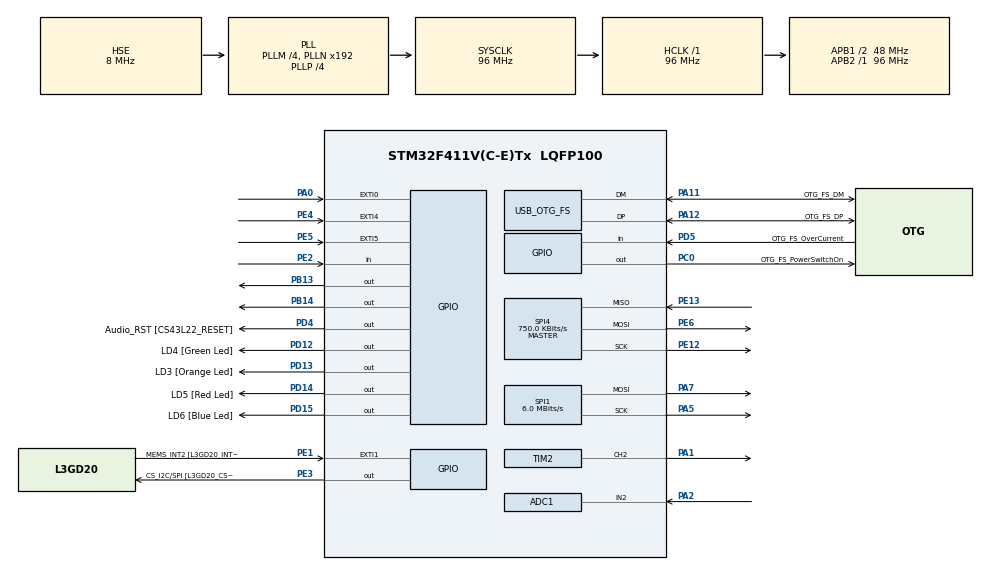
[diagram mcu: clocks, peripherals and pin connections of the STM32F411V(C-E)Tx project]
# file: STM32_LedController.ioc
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ADC1.Channel-1\#ChannelRegularConversion=ADC_CHANNEL_2
ADC1.DMAContinuousRequests=ENABLE
ADC1.EOCSelection=ADC_EOC_SEQ_CONV
ADC1.ExternalTrigConv=ADC_EXTERNALTRIGCONV_T2_CC2
ADC1.ExternalTrigConvEdge=ADC_EXTERNALTRIGCONVEDGE_RISINGFALLING
ADC1.NbrOfConversionFlag=1
ADC1.Rank-1\#ChannelRegularConversion=1
ADC1.SamplingTime-1\#ChannelRegularConversion=ADC_SAMPLETIME_3CYCLES
ADC1.master=1
Dma.ADC1.1.Direction=DMA_PERIPH_TO_MEMORY
Dma.ADC1.1.FIFOMode=DMA_FIFOMODE_DISABLE
Dma.ADC1.1.Instance=DMA2_Stream0
Dma.ADC1.1.MemDataAlignment=DMA_MDATAALIGN_HALFWORD
Dma.ADC1.1.MemInc=DMA_MINC_ENABLE
Dma.ADC1.1.Mode=DMA_CIRCULAR
Dma.ADC1.1.PeriphDataAlignment=DMA_PDATAALIGN_HALFWORD
Dma.ADC1.1.PeriphInc=DMA_PINC_DISABLE
Dma.ADC1.1.Priority=DMA_PRIORITY_MEDIUM
Dma.Request0=SPI1_TX
Dma.Request1=ADC1
Dma.SPI1_TX.0.Direction=DMA_MEMORY_TO_PERIPH
Dma.SPI1_TX.0.FIFOMode=DMA_FIFOMODE_DISABLE
Dma.SPI1_TX.0.Instance=DMA2_Stream2
Dma.SPI1_TX.0.MemDataAlignment=DMA_MDATAALIGN_BYTE
Dma.SPI1_TX.0.MemInc=DMA_MINC_ENABLE
Dma.SPI1_TX.0.Mode=DMA_CIRCULAR
Dma.SPI1_TX.0.PeriphDataAlignment=DMA_PDATAALIGN_BYTE
Dma.SPI1_TX.0.PeriphInc=DMA_PINC_DISABLE
Dma.SPI1_TX.0.Priority=DMA_PRIORITY_VERY_HIGH
Mcu.Family=STM32F4
Mcu.Name=STM32F411V(C-E)Tx
Mcu.Package=LQFP100
NVIC.DMA2_Stream0_IRQn=true\:0\:0\:false\:false\:true\:false\:true\:true
NVIC.DMA2_Stream2_IRQn=true\:0\:0\:false\:false\:true\:false\:true\:true
NVIC.OTG_FS_IRQn=true\:0\:0\:false\:false\:true\:false\:true\:true
NVIC.PriorityGroup=NVIC_PRIORITYGROUP_0
PA0-WKUP.GPIO_ModeDefaultEXTI=GPIO_MODE_EVT_RISING
PA0-WKUP.Signal=GPXTI0
PA1.Signal=S_TIM2_CH2
PA10.GPIO_Label=OTG_FS_ID
PA10.Signal=USB_OTG_FS_ID
PA11.GPIO_Label=OTG_FS_DM
PA11.Mode=Device_Only
PA11.Signal=USB_OTG_FS_DM
PA12.GPIO_Label=OTG_FS_DP
PA12.Mode=Device_Only
PA12.Signal=USB_OTG_FS_DP
PA13.GPIO_Label=SWDIO
PA13.Signal=SYS_JTMS-SWDIO
PA14.GPIO_Label=SWCLK
PA14.Signal=SYS_JTCK-SWCLK
PA2.Signal=ADCx_IN2
PA5.Mode=TX_Only_Simplex_Unidirect_Master
PA5.Signal=SPI1_SCK
PA7.Mode=TX_Only_Simplex_Unidirect_Master
PA7.Signal=SPI1_MOSI
PA9.GPIO_Label=VBUS_FS
PA9.Signal=USB_OTG_FS_VBUS
PB12.Signal=I2S2_WS
PB13.Signal=GPIO_Output
PB14.Signal=GPIO_Output
PB3.GPIO_Label=SWO
PB3.Signal=SYS_JTDO-SWO
PB6.GPIO_Label=Audio_SCL [CS43L22_SCL]
PB6.GPIO_Mode=GPIO_MODE_AF_OD
PB6.GPIO_PuPd=GPIO_NOPULL
PB6.GPIO_Speed=GPIO_SPEED_FREQ_LOW
PB6.Signal=I2C1_SCL
PB9.GPIO_Label=Audio_SDA [CS43L22_SDA]
PB9.GPIO_Mode=GPIO_MODE_AF_OD
PB9.GPIO_PuPd=GPIO_NOPULL
PB9.GPIO_Speed=GPIO_SPEED_FREQ_LOW
PB9.Signal=I2C1_SDA
PC0.GPIO_Label=OTG_FS_PowerSwitchOn
PC0.PinState=GPIO_PIN_SET
PC0.Signal=GPIO_Output
PC10.GPIO_Label=I2S3_SCK [CS43L22_SCLK]
PC10.GPIO_Mode=GPIO_MODE_AF_PP
PC10.GPIO_PuPd=GPIO_NOPULL
PC10.GPIO_Speed=GPIO_SPEED_FREQ_LOW
PC10.Signal=I2S3_CK
PC12.GPIO_Label=I2S3_SD [CS43L22_SDIN]
PC12.GPIO_Mode=GPIO_MODE_AF_PP
PC12.GPIO_PuPd=GPIO_NOPULL
PC12.GPIO_Speed=GPIO_SPEED_FREQ_LOW
PC12.Signal=I2S3_SD
PC14-OSC32_IN.GPIO_Label=PC14-OSC32_IN
PC14-OSC32_IN.Signal=RCC_OSC32_IN
PC15-OSC32_OUT.GPIO_Label=PC15-OSC32_OUT
PC15-OSC32_OUT.Signal=RCC_OSC32_OUT
PC3.GPIO_Label=PDM_OUT [MP45DT02_DOUT]
PC3.Signal=I2S2_SD
PC7.GPIO_Label=I2S3_MCK [CS43L22_MCLK]
PC7.GPIO_Mode=GPIO_MODE_AF_PP
PC7.GPIO_PuPd=GPIO_NOPULL
PC7.GPIO_Speed=GPIO_SPEED_FREQ_LOW
PC7.Signal=I2S3_MCK
PD12.GPIO_Label=LD4 [Green Led]
PD12.GPIO_PuPd=GPIO_NOPULL
PD12.GPIO_Speed=GPIO_SPEED_FREQ_LOW
PD12.Signal=GPIO_Output
PD13.GPIO_Label=LD3 [Orange Led]
PD13.GPIO_PuPd=GPIO_NOPULL
PD13.GPIO_Speed=GPIO_SPEED_FREQ_LOW
PD13.Signal=GPIO_Output
PD14.GPIO_Label=LD5 [Red Led]
PD14.GPIO_PuPd=GPIO_NOPULL
PD14.GPIO_Speed=GPIO_SPEED_FREQ_LOW
PD14.Signal=GPIO_Output
PD15.GPIO_Label=LD6 [Blue Led]
PD15.GPIO_PuPd=GPIO_NOPULL
PD15.GPIO_Speed=GPIO_SPEED_FREQ_LOW
PD15.Signal=GPIO_Output
PD4.GPIO_Label=Audio_RST [CS43L22_RESET]
PD4.Signal=GPIO_Output
PD5.GPIO_Label=OTG_FS_OverCurrent
PD5.Signal=GPIO_Input
PE1.GPIO_Label=MEMS_INT2 [L3GD20_INT2]
PE1.GPIO_ModeDefaultEXTI=GPIO_MODE_EVT_RISING
PE1.Signal=GPXTI1
PE12.Mode=Full_Duplex_Master
PE12.Signal=SPI4_SCK
PE13.Mode=Full_Duplex_Master
PE13.Signal=SPI4_MISO
PE2.Signal=GPIO_Input
PE3.GPIO_Label=CS_I2C/SPI [L3GD20_CS_I2C/SPI]
PE3.Signal=GPIO_Output
PE4.GPIO_ModeDefaultEXTI=GPIO_MODE_EVT_RISING
PE4.Signal=GPXTI4
PE5.GPIO_ModeDefaultEXTI=GPIO_MODE_EVT_RISING
PE5.Signal=GPXTI5
PE6.Mode=Full_Duplex_Master
PE6.Signal=SPI4_MOSI
PH0\ -\ OSC_IN.GPIO_Label=PH0-OSC_IN
PH0\ -\ OSC_IN.Mode=HSE-External-Oscillator
PH0\ -\ OSC_IN.Signal=RCC_OSC_IN
PH1\ -\ OSC_OUT.GPIO_Label=PH1-OSC_OUT
PH1\ -\ OSC_OUT.Mode=HSE-External-Oscillator
PH1\ -\ OSC_OUT.Signal=RCC_OSC_OUT
ProjectManager.HeapSize=0x200
ProjectManager.StackSize=0x400
ProjectManager.TargetToolchain=STM32CubeIDE
RCC.48MHZClocksFreq_Value=48000000
RCC.AHBFreq_Value=96000000
RCC.APB1CLKDivider=RCC_HCLK_DIV2
RCC.APB1Freq_Value=48000000
RCC.APB1TimFreq_Value=96000000
RCC.APB2Freq_Value=96000000
RCC.APB2TimFreq_Value=96000000
RCC.CortexFreq_Value=96000000
RCC.HCLKFreq_Value=96000000
RCC.HSE_VALUE=8000000
RCC.HSI_VALUE=16000000
RCC.LSE_VALUE=32768
RCC.PLLI2SM=5
RCC.PLLI2SN=200
RCC.PLLM=4
RCC.PLLP=RCC_PLLP_DIV4
RCC.PLLQ=8
RCC.SYSCLKFreq_VALUE=96000000
RCC.SYSCLKSource=RCC_SYSCLKSOURCE_PLLCLK
RCC.VCOOutputFreq_Value=384000000
SH.ADCx_IN2.0=ADC1_IN2,IN2
SH.S_TIM2_CH2.0=TIM2_CH2,Output Compare2 CH2
SPI1.BaudRatePrescaler=SPI_BAUDRATEPRESCALER_16
SPI1.CalculateBaudRate=6.0 MBits/s
SPI1.Direction=SPI_DIRECTION_2LINES
SPI1.Mode=SPI_MODE_MASTER
SPI1.VirtualType=VM_MASTER
SPI4.BaudRatePrescaler=SPI_BAUDRATEPRESCALER_128
SPI4.CalculateBaudRate=750.0 KBits/s
SPI4.Direction=SPI_DIRECTION_2LINES
SPI4.Mode=SPI_MODE_MASTER
SPI4.VirtualType=VM_MASTER
TIM2.AutoReloadPreload=TIM_AUTORELOAD_PRELOAD_DISABLE
TIM2.Channel-Output\ Compare2\ CH2=TIM_CHANNEL_2
TIM2.OCMode_2=TIM_OCMODE_TOGGLE
TIM2.Period=2000-1
TIM2.Pulse-Output\ Compare2\ CH2=1000
USB_DEVICE.CLASS_NAME_FS=CDC
USB_DEVICE.VirtualMode=Cdc
USB_DEVICE.VirtualModeFS=Cdc_FS
USB_OTG_FS.VirtualMode=Device_Only
VP_TIM2_VS_ClockSourceINT.Mode=Internal
VP_USB_DEVICE_VS_USB_DEVICE_CDC_FS.Mode=CDC_FS
board=STM32F411E-DISCO

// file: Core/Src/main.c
/* USER CODE BEGIN Header */
/**
  ******************************************************************************
  * @file           : main.c
  * @brief          : Main program body
  ******************************************************************************
  * @attention
  *
  * <h2><center>&copy; Copyright (c) 2021 STMicroelectronics.
  * All rights reserved.</center></h2>
  *
  * This software component is licensed by ST under Ultimate Liberty license
  * SLA0044, the "License"; You may not use this file except in compliance with
  * the License. You may obtain a copy of the License at:
  *                             www.st.com/SLA0044
  *
  ******************************************************************************
  */
/* USER CODE END Header */
#include "main.h"
#include "usb_device.h"

/* USER CODE BEGIN Includes */
#include "../../aplDsp/dataAquisition.h"

//#include "../../nRF24/nRF24_Defs.h"
//#include "../../nRF24/nRF24.h"

/* USER CODE END Includes */

ADC_HandleTypeDef hadc1;
DMA_HandleTypeDef hdma_adc1;

SPI_HandleTypeDef hspi1;
SPI_HandleTypeDef hspi4;
DMA_HandleTypeDef hdma_spi1_tx;

TIM_HandleTypeDef htim2;

void SystemClock_Config(void);
static void MX_GPIO_Init(void);
static void MX_DMA_Init(void);
static void MX_SPI1_Init(void);
static void MX_TIM2_Init(void);
static void MX_ADC1_Init(void);
static void MX_SPI4_Init(void);
/* USER CODE BEGIN PFP */
extern void fvSysScheduler(void);
extern dataAquisition DataAquisition;
/* USER CODE END PFP */

/* USER CODE BEGIN 0 */

extern "C" void nRF24_Init(SPI_HandleTypeDef *hspi);
extern "C" void nRF24_SetRXAddress(uint8_t pipe, uint8_t* address); // Remember to define RX address before TX
extern "C" void nRF24_SetTXAddress(uint8_t* address);
extern "C" void nRF24_RX_Mode(void);

extern "C" uint8_t nRF24_RXAvailible(void);
extern "C" void nRF24_ReadRXPaylaod(uint8_t* data);

uint8_t Nrf24_Message[32];
volatile uint8_t nrf24_rx_flag, nrf24_tx_flag, nrf24_mr_flag;

/* USER CODE END 0 */

int main(void)
{

  /* MCU Configuration--------------------------------------------------------*/

  /* Reset of all peripherals, Initializes the Flash interface and the Systick. */
  HAL_Init();

  /* USER CODE BEGIN Init */

  HAL_RCC_DeInit();
  /* USER CODE END Init */

  /* Configure the system clock */
  SystemClock_Config();

  /* Initialize all configured peripherals */
  MX_GPIO_Init();
  MX_DMA_Init();
  MX_USB_DEVICE_Init();
  MX_SPI1_Init();
  MX_TIM2_Init();
  MX_ADC1_Init();
  MX_SPI4_Init();
  /* USER CODE BEGIN 2 */
  DataAquisition.fvStartAquisition();

  //--------------
  nRF24_Init(&hspi4);

  nRF24_SetRXAddress(0,(uint8_t*) "Odb");
  nRF24_SetTXAddress((uint8_t*)"Nad");
  nRF24_RX_Mode();
  //--------------

  /* USER CODE END 2 */

  /* Infinite loop */
  /* USER CODE BEGIN WHILE */
  while (1)
  {
	  /*
	  if(nRF24_RXAvailible())
	  {
		  nRF24_ReadRXPaylaod(Nrf24_Message);
		  HAL_GPIO_TogglePin(GPIOD, LD3_Pin);
//		  MessageLength = sprintf(Message, "%c\n\r", Nrf24_Message[0]);
	//	  HAL_UART_Transmit(&huart2, Message, MessageLength, 1000);
	  }

*/

	  fvSysScheduler();
    /* USER CODE END WHILE */

  }
}

void SystemClock_Config(void)
{
  RCC_OscInitTypeDef RCC_OscInitStruct = {0};
  RCC_ClkInitTypeDef RCC_ClkInitStruct = {0};

  /** Configure the main internal regulator output voltage
  */
  __HAL_RCC_PWR_CLK_ENABLE();
  __HAL_PWR_VOLTAGESCALING_CONFIG(PWR_REGULATOR_VOLTAGE_SCALE1);

  /** Initializes the RCC Oscillators according to the specified parameters
  * in the RCC_OscInitTypeDef structure.
  */
  RCC_OscInitStruct.OscillatorType = RCC_OSCILLATORTYPE_HSE;
  RCC_OscInitStruct.HSEState = RCC_HSE_ON;
  RCC_OscInitStruct.PLL.PLLState = RCC_PLL_ON;
  RCC_OscInitStruct.PLL.PLLSource = RCC_PLLSOURCE_HSE;
  RCC_OscInitStruct.PLL.PLLM = 4;
  RCC_OscInitStruct.PLL.PLLN = 192;
  RCC_OscInitStruct.PLL.PLLP = RCC_PLLP_DIV4;
  RCC_OscInitStruct.PLL.PLLQ = 8;
  if (HAL_RCC_OscConfig(&RCC_OscInitStruct) != HAL_OK)
  {
    Error_Handler();
  }

  /** Initializes the CPU, AHB and APB buses clocks
  */
  RCC_ClkInitStruct.ClockType = RCC_CLOCKTYPE_HCLK|RCC_CLOCKTYPE_SYSCLK
                              |RCC_CLOCKTYPE_PCLK1|RCC_CLOCKTYPE_PCLK2;
  RCC_ClkInitStruct.SYSCLKSource = RCC_SYSCLKSOURCE_PLLCLK;
  RCC_ClkInitStruct.AHBCLKDivider = RCC_SYSCLK_DIV1;
  RCC_ClkInitStruct.APB1CLKDivider = RCC_HCLK_DIV2;
  RCC_ClkInitStruct.APB2CLKDivider = RCC_HCLK_DIV1;

  if (HAL_RCC_ClockConfig(&RCC_ClkInitStruct, FLASH_LATENCY_3) != HAL_OK)
  {
    Error_Handler();
  }
}

static void MX_ADC1_Init(void)
{

  ADC_ChannelConfTypeDef sConfig = {0};

  /** Configure the global features of the ADC (Clock, Resolution, Data Alignment and number of conversion)
  */
  hadc1.Instance = ADC1;
  hadc1.Init.ClockPrescaler = ADC_CLOCK_SYNC_PCLK_DIV4;
  hadc1.Init.Resolution = ADC_RESOLUTION_12B;
  hadc1.Init.ScanConvMode = DISABLE;
  hadc1.Init.ContinuousConvMode = DISABLE;
  hadc1.Init.DiscontinuousConvMode = DISABLE;
  hadc1.Init.ExternalTrigConvEdge = ADC_EXTERNALTRIGCONVEDGE_RISINGFALLING;
  hadc1.Init.ExternalTrigConv = ADC_EXTERNALTRIGCONV_T2_CC2;
  hadc1.Init.DataAlign = ADC_DATAALIGN_RIGHT;
  hadc1.Init.NbrOfConversion = 1;
  hadc1.Init.DMAContinuousRequests = ENABLE;
  hadc1.Init.EOCSelection = ADC_EOC_SEQ_CONV;
  if (HAL_ADC_Init(&hadc1) != HAL_OK)
  {
    Error_Handler();
  }

  /** Configure for the selected ADC regular channel its corresponding rank in the sequencer and its sample time.
  */
  sConfig.Channel = ADC_CHANNEL_2;
  sConfig.Rank = 1;
  sConfig.SamplingTime = ADC_SAMPLETIME_3CYCLES;
  if (HAL_ADC_ConfigChannel(&hadc1, &sConfig) != HAL_OK)
  {
    Error_Handler();
  }

}

static void MX_SPI1_Init(void)
{

  /* SPI1 parameter configuration*/
  hspi1.Instance = SPI1;
  hspi1.Init.Mode = SPI_MODE_MASTER;
  hspi1.Init.Direction = SPI_DIRECTION_2LINES;
  hspi1.Init.DataSize = SPI_DATASIZE_8BIT;
  hspi1.Init.CLKPolarity = SPI_POLARITY_LOW;
  hspi1.Init.CLKPhase = SPI_PHASE_1EDGE;
  hspi1.Init.NSS = SPI_NSS_SOFT;
  hspi1.Init.BaudRatePrescaler = SPI_BAUDRATEPRESCALER_16;
  hspi1.Init.FirstBit = SPI_FIRSTBIT_MSB;
  hspi1.Init.TIMode = SPI_TIMODE_DISABLE;
  hspi1.Init.CRCCalculation = SPI_CRCCALCULATION_DISABLE;
  hspi1.Init.CRCPolynomial = 10;
  if (HAL_SPI_Init(&hspi1) != HAL_OK)
  {
    Error_Handler();
  }

}

static void MX_SPI4_Init(void)
{

  /* SPI4 parameter configuration*/
  hspi4.Instance = SPI4;
  hspi4.Init.Mode = SPI_MODE_MASTER;
  hspi4.Init.Direction = SPI_DIRECTION_2LINES;
  hspi4.Init.DataSize = SPI_DATASIZE_8BIT;
  hspi4.Init.CLKPolarity = SPI_POLARITY_LOW;
  hspi4.Init.CLKPhase = SPI_PHASE_1EDGE;
  hspi4.Init.NSS = SPI_NSS_SOFT;
  hspi4.Init.BaudRatePrescaler = SPI_BAUDRATEPRESCALER_128;
  hspi4.Init.FirstBit = SPI_FIRSTBIT_MSB;
  hspi4.Init.TIMode = SPI_TIMODE_DISABLE;
  hspi4.Init.CRCCalculation = SPI_CRCCALCULATION_DISABLE;
  hspi4.Init.CRCPolynomial = 10;
  if (HAL_SPI_Init(&hspi4) != HAL_OK)
  {
    Error_Handler();
  }

}

static void MX_TIM2_Init(void)
{

  TIM_ClockConfigTypeDef sClockSourceConfig = {0};
  TIM_MasterConfigTypeDef sMasterConfig = {0};
  TIM_OC_InitTypeDef sConfigOC = {0};

  htim2.Instance = TIM2;
  htim2.Init.Prescaler = 0;
  htim2.Init.CounterMode = TIM_COUNTERMODE_UP;
  htim2.Init.Period = 2000-1;
  htim2.Init.ClockDivision = TIM_CLOCKDIVISION_DIV1;
  htim2.Init.AutoReloadPreload = TIM_AUTORELOAD_PRELOAD_DISABLE;
  if (HAL_TIM_Base_Init(&htim2) != HAL_OK)
  {
    Error_Handler();
  }
  sClockSourceConfig.ClockSource = TIM_CLOCKSOURCE_INTERNAL;
  if (HAL_TIM_ConfigClockSource(&htim2, &sClockSourceConfig) != HAL_OK)
  {
    Error_Handler();
  }
  if (HAL_TIM_OC_Init(&htim2) != HAL_OK)
  {
    Error_Handler();
  }
  sMasterConfig.MasterOutputTrigger = TIM_TRGO_RESET;
  sMasterConfig.MasterSlaveMode = TIM_MASTERSLAVEMODE_DISABLE;
  if (HAL_TIMEx_MasterConfigSynchronization(&htim2, &sMasterConfig) != HAL_OK)
  {
    Error_Handler();
  }
  sConfigOC.OCMode = TIM_OCMODE_TOGGLE;
  sConfigOC.Pulse = 1000;
  sConfigOC.OCPolarity = TIM_OCPOLARITY_HIGH;
  sConfigOC.OCFastMode = TIM_OCFAST_DISABLE;
  if (HAL_TIM_OC_ConfigChannel(&htim2, &sConfigOC, TIM_CHANNEL_2) != HAL_OK)
  {
    Error_Handler();
  }
  /* USER CODE BEGIN TIM2_Init 2 */

  //start aquisition
  HAL_TIM_OC_Start(&htim2, TIM_CHANNEL_2);
  HAL_TIM_Base_Start(&htim2);

  /* USER CODE END TIM2_Init 2 */
  HAL_TIM_MspPostInit(&htim2);

}

static void MX_DMA_Init(void)
{

  /* DMA controller clock enable */
  __HAL_RCC_DMA2_CLK_ENABLE();

  /* DMA interrupt init */
  /* DMA2_Stream0_IRQn interrupt configuration */
  HAL_NVIC_SetPriority(DMA2_Stream0_IRQn, 0, 0);
  HAL_NVIC_EnableIRQ(DMA2_Stream0_IRQn);
  /* DMA2_Stream2_IRQn interrupt configuration */
  HAL_NVIC_SetPriority(DMA2_Stream2_IRQn, 0, 0);
  HAL_NVIC_EnableIRQ(DMA2_Stream2_IRQn);

}

static void MX_GPIO_Init(void)
{
  GPIO_InitTypeDef GPIO_InitStruct = {0};

  /* GPIO Ports Clock Enable */
  __HAL_RCC_GPIOE_CLK_ENABLE();
  __HAL_RCC_GPIOC_CLK_ENABLE();
  __HAL_RCC_GPIOH_CLK_ENABLE();
  __HAL_RCC_GPIOA_CLK_ENABLE();
  __HAL_RCC_GPIOB_CLK_ENABLE();
  __HAL_RCC_GPIOD_CLK_ENABLE();

  /*Configure GPIO pin Output Level */
  HAL_GPIO_WritePin(CS_I2C_SPI_GPIO_Port, CS_I2C_SPI_Pin, GPIO_PIN_RESET);

  /*Configure GPIO pin Output Level */
  HAL_GPIO_WritePin(OTG_FS_PowerSwitchOn_GPIO_Port, OTG_FS_PowerSwitchOn_Pin, GPIO_PIN_SET);

  /*Configure GPIO pin Output Level */
  HAL_GPIO_WritePin(GPIOB, GPIO_PIN_13|GPIO_PIN_14, GPIO_PIN_RESET);

  /*Configure GPIO pin Output Level */
  HAL_GPIO_WritePin(GPIOD, LD4_Pin|LD3_Pin|LD5_Pin|LD6_Pin
                          |Audio_RST_Pin, GPIO_PIN_RESET);

  /*Configure GPIO pin : PE2 */
  GPIO_InitStruct.Pin = GPIO_PIN_2;
  GPIO_InitStruct.Mode = GPIO_MODE_INPUT;
  GPIO_InitStruct.Pull = GPIO_NOPULL;
  HAL_GPIO_Init(GPIOE, &GPIO_InitStruct);

  /*Configure GPIO pin : CS_I2C_SPI_Pin */
  GPIO_InitStruct.Pin = CS_I2C_SPI_Pin;
  GPIO_InitStruct.Mode = GPIO_MODE_OUTPUT_PP;
  GPIO_InitStruct.Pull = GPIO_NOPULL;
  GPIO_InitStruct.Speed = GPIO_SPEED_FREQ_LOW;
  HAL_GPIO_Init(CS_I2C_SPI_GPIO_Port, &GPIO_InitStruct);

  /*Configure GPIO pins : PE4 PE5 MEMS_INT2_Pin */
  GPIO_InitStruct.Pin = GPIO_PIN_4|GPIO_PIN_5|MEMS_INT2_Pin;
  GPIO_InitStruct.Mode = GPIO_MODE_EVT_RISING;
  GPIO_InitStruct.Pull = GPIO_NOPULL;
  HAL_GPIO_Init(GPIOE, &GPIO_InitStruct);

  /*Configure GPIO pin : OTG_FS_PowerSwitchOn_Pin */
  GPIO_InitStruct.Pin = OTG_FS_PowerSwitchOn_Pin;
  GPIO_InitStruct.Mode = GPIO_MODE_OUTPUT_PP;
  GPIO_InitStruct.Pull = GPIO_NOPULL;
  GPIO_InitStruct.Speed = GPIO_SPEED_FREQ_LOW;
  HAL_GPIO_Init(OTG_FS_PowerSwitchOn_GPIO_Port, &GPIO_InitStruct);

  /*Configure GPIO pin : PDM_OUT_Pin */
  GPIO_InitStruct.Pin = PDM_OUT_Pin;
  GPIO_InitStruct.Mode = GPIO_MODE_AF_PP;
  GPIO_InitStruct.Pull = GPIO_NOPULL;
  GPIO_InitStruct.Speed = GPIO_SPEED_FREQ_LOW;
  GPIO_InitStruct.Alternate = GPIO_AF5_SPI2;
  HAL_GPIO_Init(PDM_OUT_GPIO_Port, &GPIO_InitStruct);

  /*Configure GPIO pin : PA0 */
  GPIO_InitStruct.Pin = GPIO_PIN_0;
  GPIO_InitStruct.Mode = GPIO_MODE_EVT_RISING;
  GPIO_InitStruct.Pull = GPIO_NOPULL;
  HAL_GPIO_Init(GPIOA, &GPIO_InitStruct);

  /*Configure GPIO pin : PB12 */
  GPIO_InitStruct.Pin = GPIO_PIN_12;
  GPIO_InitStruct.Mode = GPIO_MODE_AF_PP;
  GPIO_InitStruct.Pull = GPIO_NOPULL;
  GPIO_InitStruct.Speed = GPIO_SPEED_FREQ_LOW;
  GPIO_InitStruct.Alternate = GPIO_AF5_SPI2;
  HAL_GPIO_Init(GPIOB, &GPIO_InitStruct);

  /*Configure GPIO pins : PB13 PB14 */
  GPIO_InitStruct.Pin = GPIO_PIN_13|GPIO_PIN_14;
  GPIO_InitStruct.Mode = GPIO_MODE_OUTPUT_PP;
  GPIO_InitStruct.Pull = GPIO_NOPULL;
  GPIO_InitStruct.Speed = GPIO_SPEED_FREQ_LOW;
  HAL_GPIO_Init(GPIOB, &GPIO_InitStruct);

  /*Configure GPIO pins : LD4_Pin LD3_Pin LD5_Pin LD6_Pin
                           Audio_RST_Pin */
  GPIO_InitStruct.Pin = LD4_Pin|LD3_Pin|LD5_Pin|LD6_Pin
                          |Audio_RST_Pin;
  GPIO_InitStruct.Mode = GPIO_MODE_OUTPUT_PP;
  GPIO_InitStruct.Pull = GPIO_NOPULL;
  GPIO_InitStruct.Speed = GPIO_SPEED_FREQ_LOW;
  HAL_GPIO_Init(GPIOD, &GPIO_InitStruct);

  /*Configure GPIO pins : I2S3_MCK_Pin I2S3_SCK_Pin I2S3_SD_Pin */
  GPIO_InitStruct.Pin = I2S3_MCK_Pin|I2S3_SCK_Pin|I2S3_SD_Pin;
  GPIO_InitStruct.Mode = GPIO_MODE_AF_PP;
  GPIO_InitStruct.Pull = GPIO_NOPULL;
  GPIO_InitStruct.Speed = GPIO_SPEED_FREQ_LOW;
  GPIO_InitStruct.Alternate = GPIO_AF6_SPI3;
  HAL_GPIO_Init(GPIOC, &GPIO_InitStruct);

  /*Configure GPIO pin : OTG_FS_OverCurrent_Pin */
  GPIO_InitStruct.Pin = OTG_FS_OverCurrent_Pin;
  GPIO_InitStruct.Mode = GPIO_MODE_INPUT;
  GPIO_InitStruct.Pull = GPIO_NOPULL;
  HAL_GPIO_Init(OTG_FS_OverCurrent_GPIO_Port, &GPIO_InitStruct);

  /*Configure GPIO pins : Audio_SCL_Pin Audio_SDA_Pin */
  GPIO_InitStruct.Pin = Audio_SCL_Pin|Audio_SDA_Pin;
  GPIO_InitStruct.Mode = GPIO_MODE_AF_OD;
  GPIO_InitStruct.Pull = GPIO_NOPULL;
  GPIO_InitStruct.Speed = GPIO_SPEED_FREQ_LOW;
  GPIO_InitStruct.Alternate = GPIO_AF4_I2C1;
  HAL_GPIO_Init(GPIOB, &GPIO_InitStruct);

}

void Error_Handler(void)
{
  __disable_irq();
  while (1)
  {
  }
}
